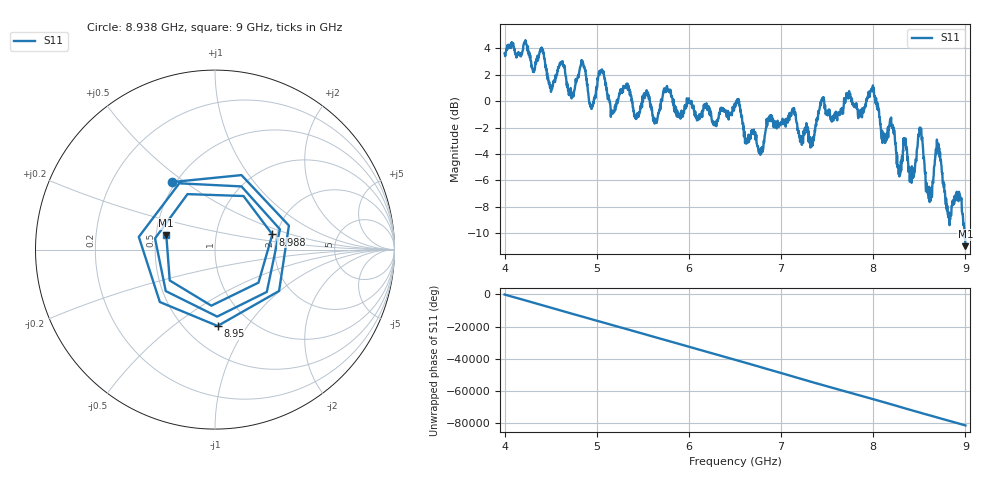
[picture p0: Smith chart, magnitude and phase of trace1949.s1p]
! Created with skrf 1.8.0 (http://scikit-rf.org).
# Hz S RI R 50.0
!freq ReS11 ImS11
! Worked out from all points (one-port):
!   1601 points, 4 GHz to 9 GHz, reference 50 ohm
!   lowest |S11| = -11.0 dB at 9 GHz (marker M1), VSWR 1.79, Z = 28.4 + j4.92 ohm
!   |S11| at or under -10 dB: 8.989603 GHz to end of sweep
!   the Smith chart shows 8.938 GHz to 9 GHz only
!   S11 on the Smith chart (normalised r, x): 8.938 GHz: 0.48, +0.45; 8.95 GHz: 0.71, -0.74; 8.988 GHz: 1.89, +0.36; 9 GHz: 0.57, +0.10
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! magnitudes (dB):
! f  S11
! 4 GHz  3.6
! 4.403 GHz  4.1
! 4.5 GHz  1.2
! 4.625 GHz  2.9
! 4.722 GHz  0.5
! 4.853 GHz  2.9
! 4.941 GHz  -0.6
! 5.047 GHz  2.3
! 5.169 GHz  -0.8
! 5.25 GHz  0.6
! 5.875 GHz  -1.1
! 6.5 GHz  -0.3
! 6.778 GHz  -3.9
! 7.125 GHz  -0.7
! 7.331 GHz  -3.4
! 7.444 GHz  0.2
! 7.75 GHz  0.6
! 7.994 GHz  1.0
! 8.112 GHz  -2.8
! 8.375 GHz  -4.2
! 8.509 GHz  -2.0
! 8.597 GHz  -7.1
! 8.7 GHz  -3.2
! 8.819 GHz  -8.8
! 8.938 GHz  -7.0
! 8.95 GHz  -7.4
! 8.988 GHz  -9.6
! 9 GHz  -11.0
